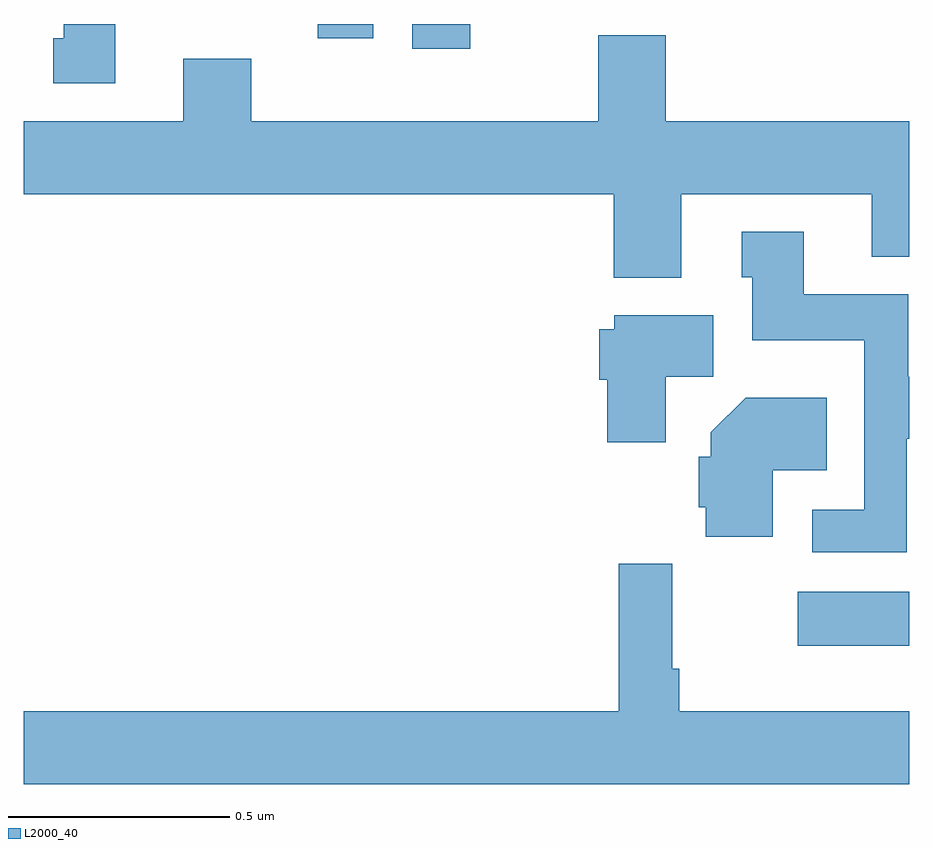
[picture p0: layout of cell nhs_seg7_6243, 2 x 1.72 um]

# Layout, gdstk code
import gdstk
lib = gdstk.Library(unit=1e-6, precision=1e-09)
def R(c, l, rs):  # rectangles x0, y0, x1, y1
    for r in rs: c.add(gdstk.rectangle(r[:2], r[2:], *l))
def P(c, l, *ps):  # polygons
    for p in ps: c.add(gdstk.Polygon(p, *l))
L2000_40 = (2000, 40)

nhs_seg7_6243 = lib.new_cell('nhs_seg7_6243')
R(nhs_seg7_6243, L2000_40, [(197.748,999.596,198,999.718), (196.877,1000.944,197.008,1001), (196.664,1000.968,196.789,1001)])
P(nhs_seg7_6243, L2000_40, [(196.207,1001),(196.091,1001),(196.091,1000.968),(196.067,1000.968),(196.067,1000.866),(196.207,1000.866)],
  [(197.45,1000.975),(197.297,1000.975),(197.297,1000.78),(196.514,1000.78),(196.514,1000.921),(196.361,1000.921),(196.361,1000.78),(196,1000.78),(196,1000.616),(197.333,1000.616),(197.333,1000.427),(197.485,1000.427),(197.485,1000.616),(197.915,1000.616),(197.915,1000.475),(198,1000.475),(198,1000.78),(197.45,1000.78)],
  [(197.994,1000.064),(198,1000.064),(198,1000.204),(197.997,1000.204),(197.997,1000.39),(197.761,1000.39),(197.761,1000.531),(197.621,1000.531),(197.621,1000.428),(197.645,1000.428),(197.645,1000.286),(197.898,1000.286),(197.898,999.903),(197.781,999.903),(197.781,999.807),(197.994,999.807)],
  [(197.45,1000.204),(197.557,1000.204),(197.557,1000.342),(197.334,1000.342),(197.334,1000.311),(197.3,1000.311),(197.3,1000.197),(197.318,1000.197),(197.318,1000.056),(197.45,1000.056)],
  [(197.692,999.992),(197.813,999.992),(197.813,1000.156),(197.63,1000.156),(197.552,1000.078),(197.552,1000.023),(197.524,1000.023),(197.524,999.909),(197.54,999.909),(197.54,999.842),(197.692,999.842)],
  [(198,999.448),(197.48,999.448),(197.48,999.544),(197.465,999.544),(197.465,999.781),(197.344,999.781),(197.344,999.448),(196,999.448),(196,999.284),(198,999.284)])

lib.write_gds('nhs_seg7_6243.gds')
